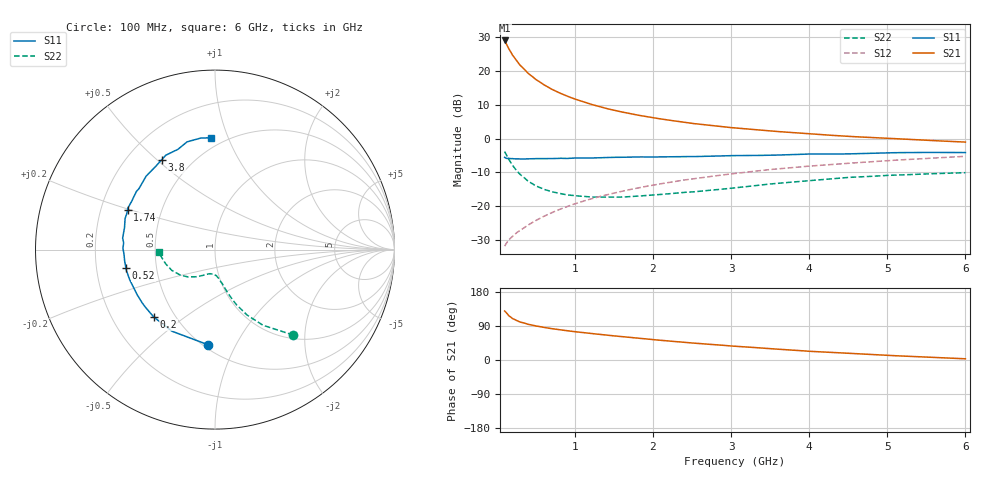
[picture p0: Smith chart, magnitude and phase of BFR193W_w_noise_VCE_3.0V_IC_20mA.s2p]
! Infineon Technologies  Discrete & RF Semiconductors
! BFR193W
! VCE =  3.0 V,  IC =  20 mA
! Common Emitter S-Parameters:  Nov 2015
# GHz  S  MA  R  50
!  f  S11  S21  S12  S22
! GHz  MAG  ANG  MAG  ANG  MAG  ANG  MAG  ANG
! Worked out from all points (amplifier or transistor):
!   192 points, 100 MHz to 6 GHz, reference 50 ohm
!   highest |S21| = 29.1 dB at 100 MHz (marker M1)
!   |S21| within 3 dB of that: start of sweep to 168.1 MHz
!   unconditionally stable (mu >= 1): 759.9 MHz to 2.567 GHz
!   at 440 MHz: K = 0.88, MSG = 21.8 dB, |S12| = -25.0 dB
!   at 1.7 GHz: K = 1.03, MAG = 10.2 dB, |S12| = -15.1 dB
!   at 6 GHz: K = 0.91, MSG = 2.1 dB, |S12| = -5.2 dB
!   lowest NFmin = 1.40 dB at 450 MHz
!   S11 on the Smith chart (normalised r, x): 100 MHz: 0.53, -0.78; 200 MHz: 0.38, -0.39; 520 MHz: 0.33, -0.09; 1.74 GHz: 0.32, +0.20; 3.8 GHz: 0.34, +0.52; 6 GHz: 0.43, +0.87
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0.1  0.5306 -94.5  28.38 129.3  0.0257 58.2  0.6459 -47.5
0.15  0.5141 -117.8  21.71 117.3  0.0316 55.1  0.4997 -57.6
0.2  0.5075 -132.3  17.33 109.5  0.0358 54.8  0.4056 -63.9
0.24  0.5033 -140.4  14.9 105.5  0.0394 55.9  0.3517 -67.2
0.26  0.5026 -143.9  13.87 103.6  0.0411 56.4  0.3297 -68.7
0.3  0.5013 -149.9  12.15 100.2  0.0442 57.4  0.2951 -70.8
0.4  0.5041 -160.4  9.286 94.2  0.0526 60.3  0.2353 -74.7
0.5  0.5074 -167.0  7.513 89.8  0.0615 62.7  0.2002 -77.3
0.52  0.507 -168.2  7.269 89.2  0.0634 63.1  0.1958 -77.8
0.6  0.5073 -172.8  6.304 86.1  0.0708 64.5  0.1786 -80.2
0.66  0.5071 -175.4  5.766 84.2  0.0763 65.3  0.1701 -81.3
0.8  0.5131 179.1  4.769 79.9  0.0895 66.5  0.1554 -84.5
0.9  0.5103 175.8  4.249 77.2  0.099 67.0  0.1473 -86.2
1.1  0.5173 170.0  3.544 72.5  0.1183 67.3  0.1402 -90.5
1.4  0.526 162.6  2.802 65.8  0.1472 67.1  0.1365 -97.2
1.74  0.5353 155.6  2.31 58.9  0.1803 65.8  0.1397 -104.4
2.08  0.5377 148.7  1.974 52.3  0.2132 64.1  0.1493 -110.4
3.1  0.5619 131.6  1.426 35.7  0.3106 56.9  0.1901 -127.2
3.8  0.5818 120.7  1.226 25.9  0.3751 51.0  0.2288 -140.3
4.1  0.5928 116.1  1.159 22.0  0.4005 48.5  0.2446 -146.0
5.1  0.6207 103.1  1.001 11.3  0.4805 40.1  0.2888 -165.7
6  0.6234 92.0  0.891 3.2  0.5478 32.2  0.314 -177.8
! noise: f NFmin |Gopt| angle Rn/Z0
0.45  1.4  0.3  160  0.1
0.9  1.45  0.34  172  0.11
1.8  2.2  0.56  -148  0.2
